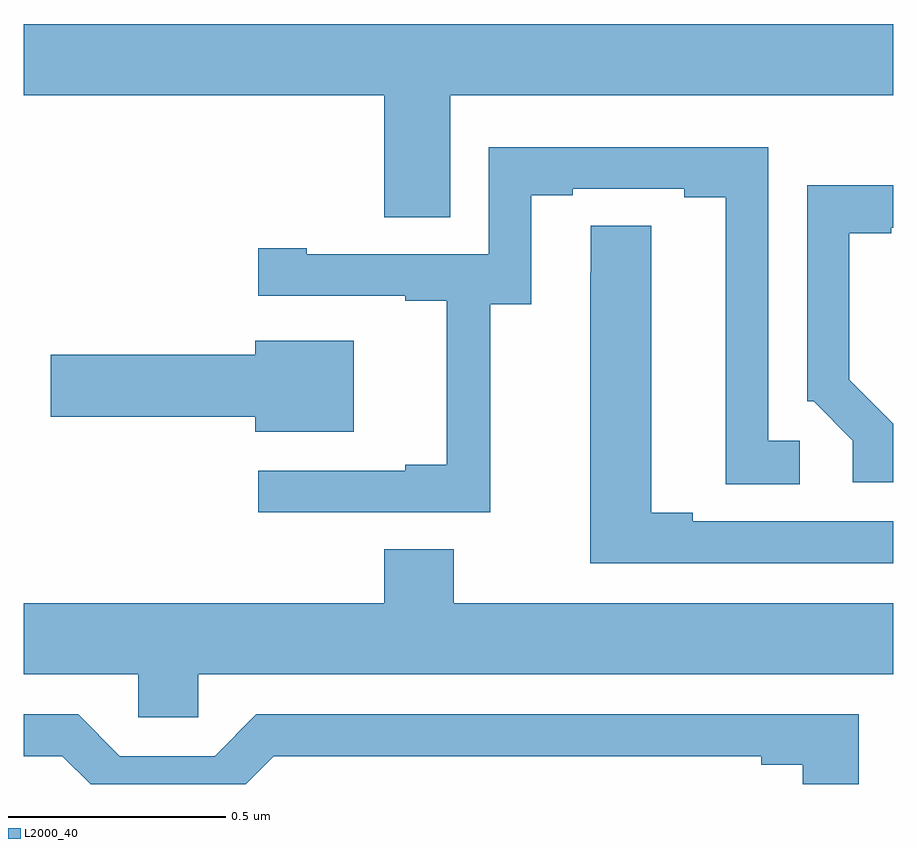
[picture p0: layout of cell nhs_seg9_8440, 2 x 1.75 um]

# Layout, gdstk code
import gdstk
lib = gdstk.Library(unit=1e-6, precision=1e-09)
def P(c, l, *ps):  # polygons
    for p in ps: c.add(gdstk.Polygon(p, *l))
L2000_40 = (2000, 40)

nhs_seg9_8440 = lib.new_cell('nhs_seg9_8440')
P(nhs_seg9_8440, L2000_40, [(217.981,1199.084),(219,1199.084),(219,1199.248),(217,1199.248),(217,1199.084),(217.829,1199.084),(217.829,1198.804),(217.981,1198.804)],
  [(218.073,1198.603),(218.167,1198.603),(218.167,1198.854),(218.263,1198.854),(218.263,1198.869),(218.519,1198.869),(218.519,1198.849),(218.615,1198.849),(218.615,1198.189),(218.785,1198.189),(218.785,1198.29),(218.712,1198.29),(218.712,1198.965),(218.07,1198.965),(218.07,1198.719),(217.651,1198.719),(217.651,1198.732),(217.539,1198.732),(217.539,1198.623),(217.877,1198.623),(217.877,1198.611),(217.973,1198.611),(217.973,1198.234),(217.877,1198.234),(217.877,1198.221),(217.539,1198.221),(217.539,1198.125),(218.073,1198.125)],
  [(219,1198.329),(218.899,1198.43),(218.899,1198.767),(218.995,1198.767),(218.995,1198.779),(219,1198.779),(219,1198.877),(218.802,1198.877),(218.802,1198.38),(218.817,1198.38),(218.907,1198.29),(218.907,1198.194),(219,1198.194)],
  [(219,1198.104),(218.539,1198.104),(218.539,1198.124),(218.443,1198.124),(218.443,1198.784),(218.304,1198.784),(218.304,1198.676),(218.303,1198.676),(218.303,1198.008),(219,1198.008)],
  [(217.759,1198.519),(217.532,1198.519),(217.532,1198.487),(217.062,1198.487),(217.062,1198.345),(217.532,1198.345),(217.532,1198.31),(217.759,1198.31)],
  [(217.401,1197.752),(219,1197.752),(219,1197.916),(217.989,1197.916),(217.989,1198.04),(217.829,1198.04),(217.829,1197.916),(217,1197.916),(217,1197.752),(217.263,1197.752),(217.263,1197.654),(217.401,1197.654)],
  [(217.575,1197.564),(218.696,1197.564),(218.696,1197.544),(218.792,1197.544),(218.792,1197.5),(218.92,1197.5),(218.92,1197.66),(217.535,1197.66),(217.439,1197.564),(217.221,1197.564),(217.125,1197.66),(217,1197.66),(217,1197.564),(217.089,1197.564),(217.154,1197.5),(217.511,1197.5)])

lib.write_gds('nhs_seg9_8440.gds')
